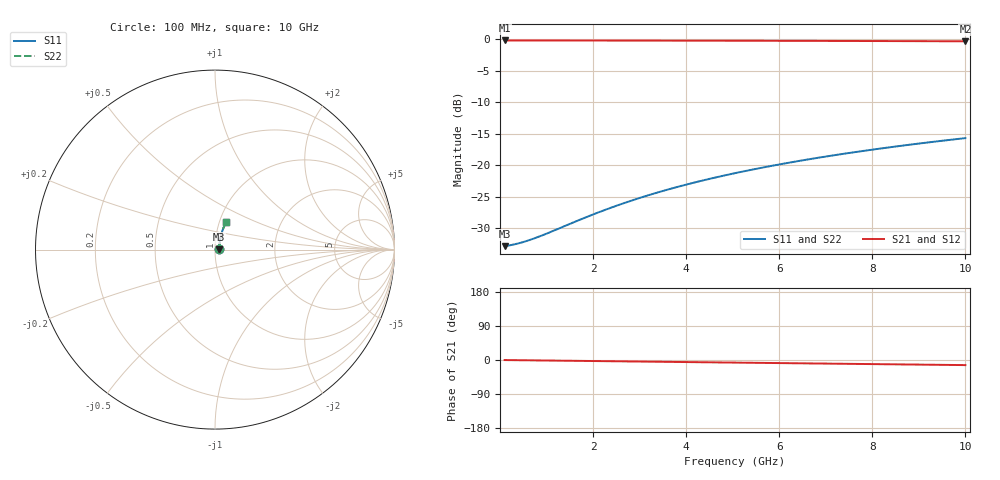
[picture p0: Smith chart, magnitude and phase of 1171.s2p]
# Hz S RI R 50.00
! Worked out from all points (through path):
!   100 points, 100 MHz to 10 GHz, reference 50 ohm
!   highest |S21| = -0.20 dB at 100 MHz (marker M1); lowest = -0.3 dB at 10 GHz (marker M2)
!   group delay of S21, straight-line fit = 3.74 ps
!   lowest |S11| = -32.8 dB at 100 MHz (marker M3), VSWR 1.05, Z = 52.3 + j0.168 ohm
!   |S11| at or under -10 dB: start of sweep to end of sweep
!   |S22| runs from -32.8 to -15.7 dB; largest |S21 - S12| = 0
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1e8  0.0228 0.0016  0.9772 -0.00232  0.9772 -0.00232  0.0228 0.0016
3e8  0.0231 0.0048  0.9769 -0.00696  0.9769 -0.00696  0.0231 0.0048
4e8  0.0232 0.0064  0.9768 -0.00927  0.9768 -0.00927  0.0232 0.0064
5e8  0.0233 0.008  0.9767 -0.0116  0.9767 -0.0116  0.0233 0.008
7e8  0.0235 0.0112  0.9765 -0.0162  0.9765 -0.0162  0.0235 0.0112
1e9  0.0238 0.016  0.9761 -0.0232  0.9761 -0.0232  0.0238 0.016
1.8e9  0.025 0.0287  0.9749 -0.0416  0.9749 -0.0416  0.025 0.0287
2.2e9  0.0257 0.0351  0.9742 -0.0509  0.9742 -0.0509  0.0257 0.0351
2.6e9  0.0265 0.0414  0.9733 -0.0601  0.9733 -0.0601  0.0265 0.0414
3e9  0.0274 0.0477  0.9723 -0.0693  0.9723 -0.0693  0.0274 0.0477
3.4e9  0.0285 0.054  0.9712 -0.0784  0.9712 -0.0784  0.0285 0.054
3.8e9  0.0296 0.0603  0.97 -0.0876  0.97 -0.0876  0.0296 0.0603
4.2e9  0.0309 0.0665  0.9686 -0.0967  0.9686 -0.0967  0.0309 0.0665
4.6e9  0.0323 0.0727  0.9672 -0.1057  0.9672 -0.1057  0.0323 0.0727
5.1e9  0.0341 0.0804  0.9651 -0.117  0.9651 -0.117  0.0341 0.0804
5.5e9  0.0358 0.0866  0.9634 -0.1261  0.9634 -0.1261  0.0358 0.0866
5.9e9  0.0375 0.0926  0.9615 -0.135  0.9615 -0.135  0.0375 0.0926
6.7e9  0.0413 0.1047  0.9574 -0.1528  0.9574 -0.1528  0.0413 0.1047
7.5e9  0.0456 0.1166  0.9529 -0.1704  0.9529 -0.1704  0.0456 0.1166
8.4e9  0.0509 0.1297  0.9472 -0.19  0.9472 -0.19  0.0509 0.1297
9.2e9  0.0561 0.1411  0.9417 -0.2072  0.9417 -0.2072  0.0561 0.1411
1e10  0.0616 0.1522  0.9357 -0.2242  0.9357 -0.2242  0.0616 0.1522
